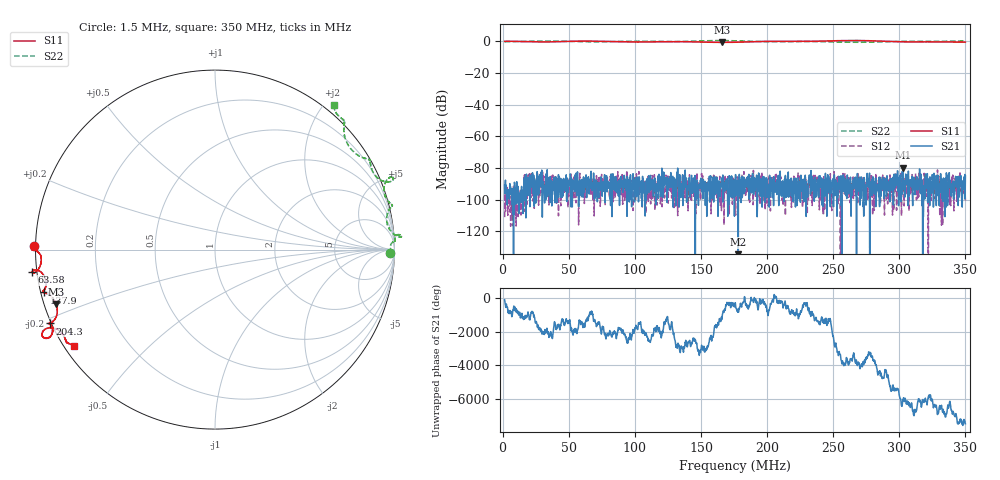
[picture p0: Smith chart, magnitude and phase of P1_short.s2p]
# Hz S RI R 50
! RAW DATA - UNCALIBRATED
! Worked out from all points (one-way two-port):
!   1601 points, 1.5 MHz to 350 MHz, reference 50 ohm
!   highest |S21| = -79.67 dB at 303 MHz (marker M1); lowest = -186.3 dB at 178.1 MHz (marker M2)
!   lowest |S11| = -0.6 dB at 165.9 MHz (marker M3), VSWR 29.77, Z = 1.73 - j8.34 ohm
!   |S11| at or under -10 dB: nowhere
!   |S22| runs from -0.5 to 0.6 dB; largest |S21 - S12| = 0.00016
!   S11 on the Smith chart (normalised r, x): 1.5 MHz: -0.01, +0.01; 63.58 MHz: -0.01, -0.06; 137.9 MHz: 0.01, -0.12; 204.3 MHz: -0.00, -0.21; 350 MHz: 0.03, -0.31
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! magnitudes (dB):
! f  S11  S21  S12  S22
! 1.5 MHz  0.1  -91.1  -111.0  -0.2
! 32.43 MHz  -0.3  -92.9  -91.9  0.4
! 59.66 MHz  0.2  -87.9  -88.1  -0.2
! 63.58 MHz  0.2  -98.7  -96.3  -0.3
! 74.03 MHz  0.1  -87.8  -101.5  -0.2
! 95.59 MHz  -0.3  -92.3  -91.1  0.1
! 117.8 MHz  -0.2  -99.1  -88.9  0.0
! 128.3 MHz  -0.1  -87.8  -97.1  0.0
! 137.9 MHz  -0.2  -90.5  -85.1  0.0
! 155.9 MHz  -0.5  -89.2  -88.9  0.5
! 165.9 MHz  -0.6  -90.4  -97.6  0.6
! 175.8 MHz  -0.5  -97.4  -89.8  0.5
! 178.1 MHz  -0.4  -186.3  -101.2  0.4
! 195.1 MHz  0.0  -90.6  -93.2  0.0
! 204.3 MHz  0.1  -94.7  -98.9  -0.2
! 233.9 MHz  0.1  -85.3  -95.9  0.0
! 265.7 MHz  0.6  -86.3  -87.6  -0.5
! 274.9 MHz  0.5  -103.4  -94.1  -0.5
! 292.1 MHz  0.0  -90.3  -92.5  -0.1
! 303 MHz  -0.2  -79.7  -86.5  0.1
! 334.3 MHz  -0.2  -90.5  -95.4  0.1
! 350 MHz  -0.4  -85.0  -100.4  0.4
